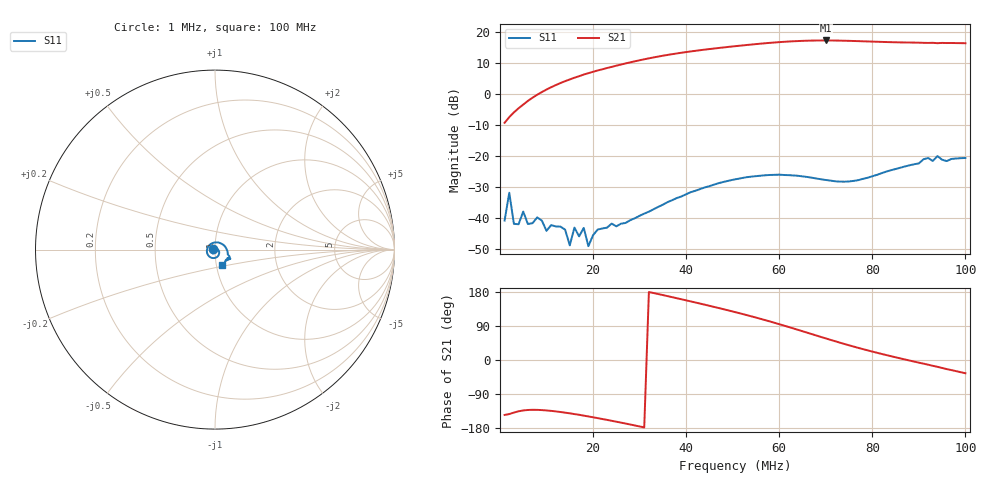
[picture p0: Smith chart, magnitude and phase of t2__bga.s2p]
# HZ S RI R 50
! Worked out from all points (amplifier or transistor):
!   100 points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, 1 MHz to 100 MHz, reference 50 ohm
!   highest |S21| = 17.2 dB at 70 MHz (marker M1)
!   |S21| within 3 dB of that: 43.74 MHz to end of sweep
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1000001  -0.00914 0.000812  -0.2804 -0.1961  0 0  0 0
2000001  -0.0114 -0.0231  -0.3365 -0.2567  0 0  0 0
3000001  -0.00809 0.000628  -0.3786 -0.3326  0 0  0 0
5000001  -0.00883 -0.00925  -0.4596 -0.491  0 0  0 0
1.4e7  -0.0046 0.00468  -1.207 -1.052  0 0  0 0
1.5e7  -0.00297 0.00214  -1.322 -1.08  0 0  0 0
1.6e7  -0.00388 0.00592  -1.448 -1.103  0 0  0 0
1.8e7  -0.00152 0.00682  -1.711 -1.119  0 0  0 0
1.9e7  -0.00109 0.00338  -1.844 -1.113  0 0  0 0
2.6e7  0.00487 0.00656  -2.865 -0.7553  0 0  0 0
3.4e7  0.0151 0.00174  -3.96 0.4131  0 0  0 0
4.3e7  0.0232 -0.0182  -4.314 2.604  0 0  0 0
5.1e7  0.0101 -0.0416  -3.374 4.836  0 0  0 0
5.5e7  -0.00621 -0.0471  -2.365 5.858  0 0  0 0
6e7  -0.0301 -0.0402  -0.5355 6.771  0 0  0 0
6.3e7  -0.0407 -0.0269  0.7985 6.968  0 0  0 0
6.7e7  -0.0448 -0.00233  2.657 6.682  0 0  0 0
7e7  -0.0375 0.0172  3.938 6.062  0 0  0 0
7.7e7  0.00802 0.0402  5.979 3.733  0 0  0 0
8.4e7  0.0571 0.0156  6.681 1.188  0 0  0 0
9.3e7  0.0677 -0.0486  6.39 -1.758  0 0  0 0
1e8  0.0417 -0.0833  5.348 -3.743  0 0  0 0
